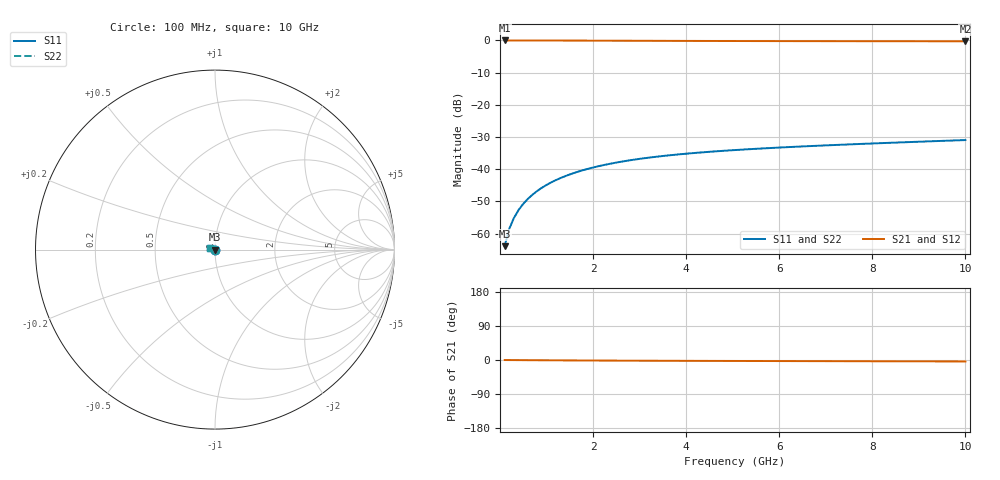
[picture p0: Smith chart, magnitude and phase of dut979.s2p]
! Touchstone file exported from HFSS 2024.1.0
!  File:  C:/UserFiles/LocalFiles/RDL_TSV_Batchsim/temp_TSV1_979_1779951874.aedt
!  Generated:  03:09:31 PM May 28, 2026
!  Design:  TSV1
!  Project:  temp_TSV1_979_1779951874
!  Setup:  Setup1
!  Solution:  Sweep
! Variables:
!  dtsv = 6.56um
!  hbump = 3um
!  htsv = 56.14um
!  lrdl = 252.1521522um
!  p = 40
!  p1 = 44.38um
!  t = 500um
!  trdl = 3um
!  wrdl = 24.89489489um
# GHz S MA R 50.000000
! Terminal data exported
! Port[1] = TSV22_T1
! Port[2] = TSV22_T2
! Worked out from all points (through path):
!   100 points, 100 MHz to 10 GHz, reference 50 ohm
!   highest |S21| = 0.00 dB at 100 MHz (marker M1); lowest = -0.3 dB at 10 GHz (marker M2)
!   lowest |S11| = -63.9 dB at 100 MHz (marker M3), VSWR 1.00, Z = 50 - j0.0585 ohm
!   |S11| at or under -10 dB: start of sweep to end of sweep
!   |S22| runs from -63.9 to -31.0 dB; largest |S21 - S12| = 2.2e-15
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0.1  0.0006357 -66.8  0.9997 -0.1  0.9997 -0.1  0.0006357 -66.8
! Gamma 0 0 0 0
! Port Impedance 50 0 50 0
0.2  0.001182 -80.9  0.9996 -0.2  0.9996 -0.2  0.001182 -80.9
0.3  0.001747 -87.3  0.9995 -0.2  0.9995 -0.2  0.001747 -87.3
0.4  0.002317 -91.5  0.9994 -0.3  0.9994 -0.3  0.002317 -91.5
0.5  0.002888 -94.8  0.9992 -0.4  0.9992 -0.4  0.002888 -94.8
0.6  0.003457 -97.6  0.9989 -0.5  0.9989 -0.5  0.003457 -97.6
0.7  0.004022 -100.2  0.9987 -0.5  0.9987 -0.5  0.004022 -100.2
0.8  0.004581 -102.5  0.9984 -0.6  0.9984 -0.6  0.004581 -102.5
0.9  0.005135 -104.7  0.9981 -0.7  0.9981 -0.7  0.005135 -104.7
1.1  0.006218 -108.9  0.9973 -0.8  0.9973 -0.8  0.006218 -108.9
1.4  0.007775 -114.7  0.9961 -1.0  0.9961 -1.0  0.007775 -114.7
1.6  0.008762 -118.4  0.9951 -1.2  0.9951 -1.2  0.008762 -118.4
1.8  0.009705 -121.9  0.9942 -1.3  0.9942 -1.3  0.009705 -121.9
2.1  0.01104 -127.0  0.9926 -1.4  0.9926 -1.4  0.01104 -127.0
2.5  0.01265 -133.3  0.9906 -1.6  0.9906 -1.6  0.01265 -133.3
2.9  0.01411 -139.2  0.9885 -1.8  0.9885 -1.8  0.01411 -139.2
3.4  0.01571 -146.0  0.9861 -2.0  0.9861 -2.0  0.01571 -146.0
4.2  0.01788 -155.7  0.9827 -2.3  0.9827 -2.3  0.01788 -155.7
5.1  0.01991 -165.1  0.9795 -2.6  0.9795 -2.6  0.01991 -165.1
6.7  0.02289 -178.8  0.9754 -3.0  0.9754 -3.0  0.02289 -178.8
8.4  0.02571 169.6  0.9725 -3.4  0.9725 -3.4  0.02571 169.6
10  0.02833 160.7  0.9705 -3.8  0.9705 -3.8  0.02833 160.7
